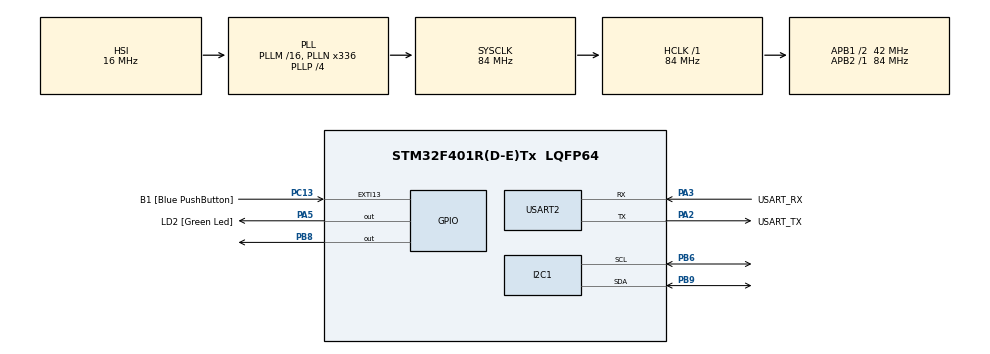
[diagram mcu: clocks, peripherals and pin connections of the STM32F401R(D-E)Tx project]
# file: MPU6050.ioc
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I2C1.I2C_Mode=I2C_Standard
I2C1.OwnAddress=0
Mcu.Family=STM32F4
Mcu.Name=STM32F401R(D-E)Tx
Mcu.Package=LQFP64
NVIC.PriorityGroup=NVIC_PRIORITYGROUP_0
PA13.GPIO_Label=TMS
PA13.Mode=Serial_Wire
PA13.Signal=SYS_JTMS-SWDIO
PA14.GPIO_Label=TCK
PA14.Mode=Serial_Wire
PA14.Signal=SYS_JTCK-SWCLK
PA2.GPIO_Label=USART_TX
PA2.GPIO_Mode=GPIO_MODE_AF_PP
PA2.GPIO_PuPd=GPIO_NOPULL
PA2.GPIO_Speed=GPIO_SPEED_FREQ_LOW
PA2.Mode=Asynchronous
PA2.Signal=USART2_TX
PA3.GPIO_Label=USART_RX
PA3.GPIO_Mode=GPIO_MODE_AF_PP
PA3.GPIO_PuPd=GPIO_NOPULL
PA3.GPIO_Speed=GPIO_SPEED_FREQ_LOW
PA3.Mode=Asynchronous
PA3.Signal=USART2_RX
PA5.GPIO_Label=LD2 [Green Led]
PA5.GPIO_Mode=GPIO_MODE_OUTPUT_PP
PA5.GPIO_PuPd=GPIO_NOPULL
PA5.GPIO_Speed=GPIO_SPEED_FREQ_VERY_HIGH
PA5.Signal=GPIO_Output
PB3.GPIO_Label=SWO
PB3.Signal=SYS_JTDO-SWO
PB6.GPIO_Pu=GPIO_NOPULL
PB6.GPIO_Speed=GPIO_SPEED_FREQ_VERY_HIGH
PB6.Mode=I2C
PB6.Signal=I2C1_SCL
PB8.GPIO_Speed=GPIO_SPEED_FREQ_VERY_HIGH
PB8.Signal=GPIO_Output
PB9.GPIO_Pu=GPIO_NOPULL
PB9.GPIO_Speed=GPIO_SPEED_FREQ_VERY_HIGH
PB9.Mode=I2C
PB9.Signal=I2C1_SDA
PC13-ANTI_TAMP.GPIO_Label=B1 [Blue PushButton]
PC13-ANTI_TAMP.GPIO_ModeDefaultEXTI=GPIO_MODE_IT_FALLING
PC13-ANTI_TAMP.GPIO_PuPd=GPIO_NOPULL
PC13-ANTI_TAMP.Signal=GPXTI13
PC14-OSC32_IN.Mode=LSE-External-Oscillator
PC14-OSC32_IN.Signal=RCC_OSC32_IN
PC15-OSC32_OUT.Mode=LSE-External-Oscillator
PC15-OSC32_OUT.Signal=RCC_OSC32_OUT
PH0\ -\ OSC_IN.Mode=HSE-External-Clock-Source
PH0\ -\ OSC_IN.Signal=RCC_OSC_IN
PH1\ -\ OSC_OUT.Mode=HSE-External-Clock-Source
PH1\ -\ OSC_OUT.Signal=RCC_OSC_OUT
ProjectManager.HeapSize=0x200
ProjectManager.StackSize=0x400
ProjectManager.TargetToolchain=STM32CubeIDE
RCC.48MHZClocksFreq_Value=48000000
RCC.AHBFreq_Value=84000000
RCC.APB1CLKDivider=RCC_HCLK_DIV2
RCC.APB1Freq_Value=42000000
RCC.APB1TimFreq_Value=84000000
RCC.APB2Freq_Value=84000000
RCC.APB2TimFreq_Value=84000000
RCC.CortexFreq_Value=84000000
RCC.HCLKFreq_Value=84000000
RCC.HSE_VALUE=8000000
RCC.HSI_VALUE=16000000
RCC.PLLN=336
RCC.PLLP=RCC_PLLP_DIV4
RCC.PLLQ=7
RCC.SYSCLKFreq_VALUE=84000000
RCC.SYSCLKSource=RCC_SYSCLKSOURCE_PLLCLK
RCC.VCOOutputFreq_Value=336000000
USART2.VirtualMode=VM_ASYNC
board=NUCLEO-F401RE

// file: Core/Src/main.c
/* USER CODE BEGIN Header */
/**
  ******************************************************************************
  * @file           : main.c
  * @brief          : Main program body
  ******************************************************************************
  * @attention
  *
  * <h2><center>&copy; Copyright (c) 2024 STMicroelectronics.
  * All rights reserved.</center></h2>
  *
  * This software component is licensed by ST under BSD 3-Clause license,
  * the "License"; You may not use this file except in compliance with the
  * License. You may obtain a copy of the License at:
  *                        opensource.org/licenses/BSD-3-Clause
  *
  ******************************************************************************
  */
/* USER CODE END Header */
#include "main.h"
#include "i2c.h"
#include "usart.h"
#include "gpio.h"

/* USER CODE BEGIN Includes */
#include "app_mpu6050.h"
#include "stdio.h"
#include <string.h>
/* USER CODE END Includes */

/* USER CODE BEGIN PV */

//
void HAL_UART_RxCpltCallback(UART_HandleTypeDef *huart)
{

}

/* USER CODE END PV */

void SystemClock_Config(void);

int main(void)
{

  /* MCU Configuration--------------------------------------------------------*/

  /* Reset of all peripherals, Initializes the Flash interface and the Systick. */
  HAL_Init();

  /* Configure the system clock */
  SystemClock_Config();

  /* Initialize all configured peripherals */
  MX_GPIO_Init();
  MX_USART2_UART_Init();
  MX_I2C1_Init();
  /* USER CODE BEGIN 2 */

  /*for (uint8_t i = 1; i < 128; i++) {
	  HAL_StatusTypeDef result = HAL_I2C_IsDeviceReady(&hi2c1, i << 1, 1, HAL_MAX_DELAY);
	  if (result == HAL_OK) {
		  sprintf(str, "Device found at 0x%02X\r\n", i);
		  HAL_UART_Transmit(&huart2, (uint8_t *)str, strlen(str), HAL_MAX_DELAY);
	  } else if (result == HAL_ERROR) {
		  sprintf(str, "Error at address 0x%02X\r\n", i);
		  HAL_UART_Transmit(&huart2, (uint8_t *)str, strlen(str), HAL_MAX_DELAY);
	  } else if (result == HAL_BUSY) {
		  sprintf(str, "I2C Bus busy at address 0x%02X\r\n", i);
		  I2C_ClearBusyFlagErratum(&hi2c1, 1000);
		  HAL_UART_Transmit(&huart2, (uint8_t *)str, strlen(str), HAL_MAX_DELAY);
	  } else if (result == HAL_TIMEOUT) {
		  sprintf(str, "Timeout at address 0x%02X\r\n", i);
		  HAL_UART_Transmit(&huart2, (uint8_t *)str, strlen(str), HAL_MAX_DELAY);
	  }
  }*/

  MPU6050_Init();
  float accel[3], temp, gyro[3], angle[3];
  uint8_t p_buffer[14];
  char str[100];
  HAL_StatusTypeDef result;

  /* USER CODE END 2 */

  /* Infinite loop */
  /* USER CODE BEGIN WHILE */
  while (1)
  {
	  result = HAL_I2C_IsDeviceReady(&hi2c1, 68 << 1, 1, HAL_MAX_DELAY);

	  if (result == HAL_BUSY) {
	  	sprintf(str, "I2C Bus busy at address 0x%02X\r\n", 68);
	  	I2C_ClearBusyFlagErratum(&hi2c1, 1000);
	  }
      MPU6050_Proc();
      MPU6050_GetResult(accel, &temp, gyro, angle, p_buffer);
      if (accel[0] == 0.0f && accel[1] == 0.0f && accel[2] == 0.0f) {
     	      MPU6050_Init(); // Reinitialize the MPU6050
      }
      /*if (HAL_I2C_IsDeviceReady(&hi2c1, MPU6050, 3, HAL_MAX_DELAY) != HAL_OK) {
              sprintf(str, "I2C device not ready\r\n");
              HAL_UART_Transmit(&huart2, (uint8_t *)str, strlen(str), HAL_MAX_DELAY);

          }*/
      /*sprintf(str, "Raw: %02X %02X %02X %02X %02X %02X %02X %02X %02X %02X %02X %02X %02X %02X\r\n",
              p_buffer[0], p_buffer[1], p_buffer[2], p_buffer[3], p_buffer[4], p_buffer[5], p_buffer[6], p_buffer[7],
			  p_buffer[8], p_buffer[9], p_buffer[10], p_buffer[11], p_buffer[12], p_buffer[13]);*/
      //HAL_UART_Transmit(&huart2, (uint8_t *)str, strlen(str), HAL_MAX_DELAY);
      if(angle[1] >= 45.0 || angle[1] <= -45.0 || angle[2] <= -45.0 || angle[2] >= 45.0 ||  HAL_GPIO_ReadPin(B1_GPIO_Port, B1_Pin) == GPIO_PIN_RESET){
		  HAL_GPIO_WritePin(GPIOB, GPIO_PIN_8, GPIO_PIN_SET);
		  HAL_GPIO_WritePin(LD2_GPIO_Port,LD2_Pin, GPIO_PIN_SET);
		  //HAL_Delay(10);
	  }
	  // Button is not pressed
	  else{
		  HAL_GPIO_WritePin(GPIOB, GPIO_PIN_8, GPIO_PIN_RESET);
		  HAL_GPIO_WritePin(LD2_GPIO_Port,LD2_Pin, GPIO_PIN_RESET);
	  }
      sprintf(str, "ax = %.3f \t ay = %.3f \t az = %.3f \t gx = %.3f \t gy = %.3f \t gz = %.3f \t yaw = %.3f \t roll = %.3f \t pitch = %.3f \t temp = %.3f;\r\n", accel[0], accel[1], accel[2], gyro[0], gyro[1], gyro[2], angle[0], angle[1], angle[2], temp);
      HAL_UART_Transmit(&huart2, (uint8_t *)str, strlen(str), HAL_MAX_DELAY);
      // Button is pressed

//    //Read Raw data from MPU6050
//    HAL_I2C_Master_Transmit(&hi2c1, MPU6050, 0x3C, 1, HAL_MAX_DELAY);
//    uint8_t dat;
//    HAL_I2C_Master_Receive(&hi2c1, MPU6050, &dat, 1, HAL_MAX_DELAY);
//    HAL_Delay(1);
//    OLED_ShowHexNum(0, 0, dat, 2, OLED_8X16);
//    OLED_Update();

    /* USER CODE END WHILE */

  }
}

void SystemClock_Config(void)
{
  RCC_OscInitTypeDef RCC_OscInitStruct = {0};
  RCC_ClkInitTypeDef RCC_ClkInitStruct = {0};

  /** Configure the main internal regulator output voltage
  */
  __HAL_RCC_PWR_CLK_ENABLE();
  __HAL_PWR_VOLTAGESCALING_CONFIG(PWR_REGULATOR_VOLTAGE_SCALE2);

  /** Initializes the RCC Oscillators according to the specified parameters
  * in the RCC_OscInitTypeDef structure.
  */
  RCC_OscInitStruct.OscillatorType = RCC_OSCILLATORTYPE_HSI;
  RCC_OscInitStruct.HSIState = RCC_HSI_ON;
  RCC_OscInitStruct.HSICalibrationValue = RCC_HSICALIBRATION_DEFAULT;
  RCC_OscInitStruct.PLL.PLLState = RCC_PLL_ON;
  RCC_OscInitStruct.PLL.PLLSource = RCC_PLLSOURCE_HSI;
  RCC_OscInitStruct.PLL.PLLM = 16;
  RCC_OscInitStruct.PLL.PLLN = 336;
  RCC_OscInitStruct.PLL.PLLP = RCC_PLLP_DIV4;
  RCC_OscInitStruct.PLL.PLLQ = 7;
  if (HAL_RCC_OscConfig(&RCC_OscInitStruct) != HAL_OK)
  {
    Error_Handler();
  }

  /** Initializes the CPU, AHB and APB buses clocks
  */
  RCC_ClkInitStruct.ClockType = RCC_CLOCKTYPE_HCLK|RCC_CLOCKTYPE_SYSCLK
                              |RCC_CLOCKTYPE_PCLK1|RCC_CLOCKTYPE_PCLK2;
  RCC_ClkInitStruct.SYSCLKSource = RCC_SYSCLKSOURCE_PLLCLK;
  RCC_ClkInitStruct.AHBCLKDivider = RCC_SYSCLK_DIV1;
  RCC_ClkInitStruct.APB1CLKDivider = RCC_HCLK_DIV2;
  RCC_ClkInitStruct.APB2CLKDivider = RCC_HCLK_DIV1;

  if (HAL_RCC_ClockConfig(&RCC_ClkInitStruct, FLASH_LATENCY_2) != HAL_OK)
  {
    Error_Handler();
  }
}

void Error_Handler(void)
{
  __disable_irq();
  while (1)
  {
  }
}
